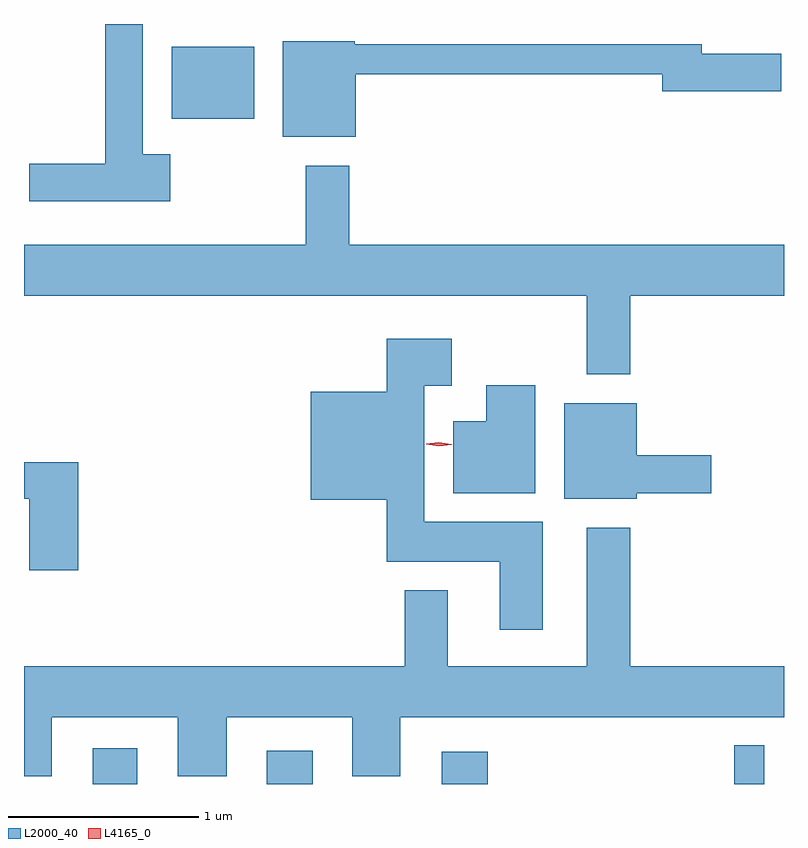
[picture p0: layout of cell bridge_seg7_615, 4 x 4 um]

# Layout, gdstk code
import gdstk
lib = gdstk.Library(unit=1e-6, precision=1e-09)
def R(c, l, rs):  # rectangles x0, y0, x1, y1
    for r in rs: c.add(gdstk.rectangle(r[:2], r[2:], *l))
def P(c, l, *ps):  # polygons
    for p in ps: c.add(gdstk.Polygon(p, *l))
L2000_40 = (2000, 40)
L4165_0 = (4165, 0)

bridge_seg7_615 = lib.new_cell('bridge_seg7_615')
R(bridge_seg7_615, L2000_40, [(760.981,1731.725,761.214,1731.914), (761.896,1731.725,762.139,1731.899), (762.816,1731.725,763.059,1731.894), (764.356,1731.725,764.514,1731.928), (761.396,1735.226,761.829,1735.604)])
P(bridge_seg7_615, L2000_40, [(761.389,1735.039),(761.244,1735.039),(761.244,1735.725),(761.046,1735.725),(761.046,1734.989),(760.646,1734.989),(760.646,1734.791),(761.389,1734.791)],
  [(762.364,1735.461),(763.976,1735.461),(763.976,1735.371),(764.604,1735.371),(764.604,1735.569),(764.184,1735.569),(764.184,1735.619),(762.36,1735.619),(762.36,1735.634),(761.981,1735.634),(761.981,1735.131),(762.364,1735.131)],
  [(763.809,1734.296),(764.618,1734.296),(764.618,1734.564),(762.329,1734.564),(762.329,1734.979),(762.101,1734.979),(762.101,1734.564),(760.618,1734.564),(760.618,1734.296),(763.581,1734.296),(763.581,1733.881),(763.809,1733.881)],
  [(763.349,1733.104),(762.724,1733.104),(762.724,1733.821),(762.869,1733.821),(762.869,1734.069),(762.526,1734.069),(762.526,1733.789),(762.126,1733.789),(762.126,1733.221),(762.526,1733.221),(762.526,1732.896),(763.121,1732.896),(763.121,1732.536),(763.349,1732.536)],
  [(763.309,1733.824),(763.051,1733.824),(763.051,1733.634),(762.876,1733.634),(762.876,1733.256),(763.309,1733.256)],
  [(763.844,1733.256),(764.234,1733.256),(764.234,1733.454),(763.844,1733.454),(763.844,1733.729),(763.461,1733.729),(763.461,1733.226),(763.844,1733.226)],
  [(760.904,1733.419),(760.618,1733.419),(760.618,1733.226),(760.646,1733.226),(760.646,1732.851),(760.904,1732.851)],
  [(760.764,1732.076),(761.426,1732.076),(761.426,1731.766),(761.684,1731.766),(761.684,1732.076),(762.346,1732.076),(762.346,1731.766),(762.599,1731.766),(762.599,1732.076),(764.618,1732.076),(764.618,1732.344),(763.809,1732.344),(763.809,1733.074),(763.581,1733.074),(763.581,1732.344),(762.849,1732.344),(762.849,1732.744),(762.621,1732.744),(762.621,1732.344),(760.618,1732.344),(760.618,1731.766),(760.764,1731.766)])
P(bridge_seg7_615, L4165_0, [(762.802,1733.503),(762.736,1733.514),(762.736,1733.514),(762.736,1733.515),(762.802,1733.523),(762.868,1733.512),(762.868,1733.512),(762.868,1733.511)])

lib.write_gds('bridge_seg7_615.gds')
